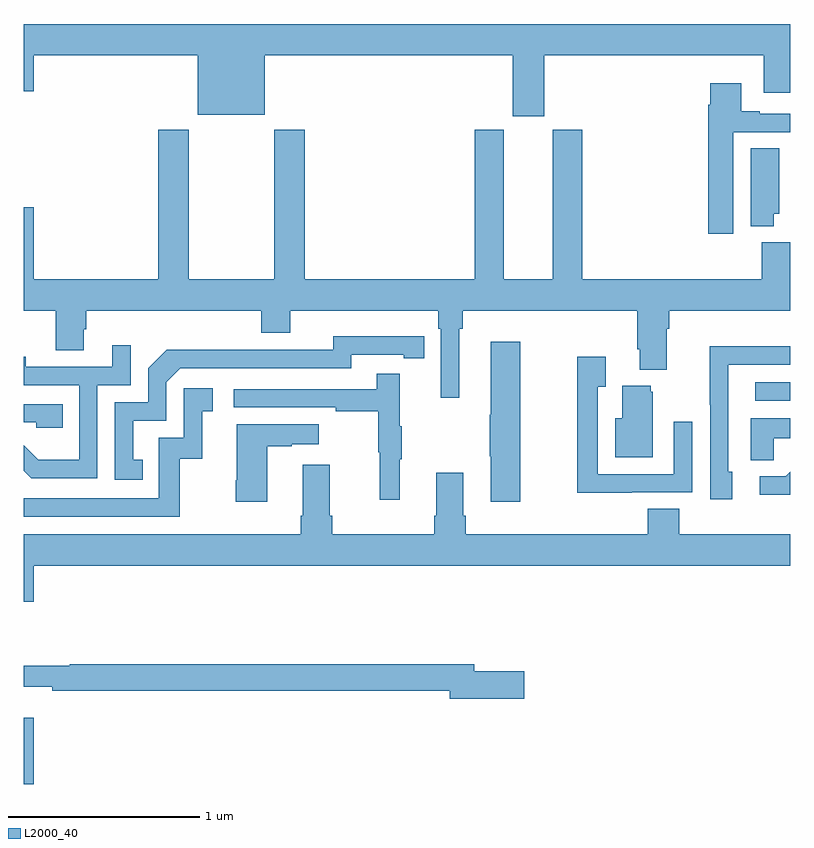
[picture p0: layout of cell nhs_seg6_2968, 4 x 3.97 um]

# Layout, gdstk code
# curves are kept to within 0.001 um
import gdstk
lib = gdstk.Library(unit=1e-6, precision=1e-09)
def R(c, l, rs):  # rectangles x0, y0, x1, y1
    for r in rs: c.add(gdstk.rectangle(r[:2], r[2:], *l))
def P(c, l, *ps):  # polygons
    for p in ps: c.add(gdstk.Polygon(p, *l))
L2000_40 = (2000, 40)

nhs_seg6_2968 = lib.new_cell('nhs_seg6_2968')
R(nhs_seg6_2968, L2000_40, [(285,975.5,285.052,975.847), (288.819,977.502,289,977.598)])
P(nhs_seg6_2968, L2000_40, [(287.716,979.304),(288.863,979.304),(288.863,979.11),(289,979.11),(289,979.468),(285,979.468),(285,979.116),(285.052,979.116),(285.052,979.304),(285.908,979.304),(285.908,978.995),(286.258,978.995),(286.258,979.304),(287.552,979.304),(287.552,978.987),(287.716,978.987)],
  [(288.703,978.903),(289,978.903),(289,978.999),(288.841,978.999),(288.841,979.012),(288.745,979.012),(288.745,979.159),(288.584,979.159),(288.584,979.046),(288.572,979.046),(288.572,978.372),(288.703,978.372)],
  [(287.272,977.876),(287.291,977.876),(287.291,977.972),(288.203,977.972),(288.203,977.77),(288.215,977.77),(288.215,977.663),(288.355,977.663),(288.355,977.876),(288.368,977.876),(288.368,977.972),(289,977.972),(289,978.328),(288.851,978.328),(288.851,978.136),(287.915,978.136),(287.915,978.915),(287.762,978.915),(287.762,978.136),(287.506,978.136),(287.506,978.915),(287.354,978.915),(287.354,978.136),(286.466,978.136),(286.466,978.916),(286.306,978.916),(286.306,978.136),(285.861,978.136),(285.861,978.916),(285.701,978.916),(285.701,978.136),(285.052,978.136),(285.052,978.511),(285,978.511),(285,977.972),(285.166,977.972),(285.166,977.764),(285.313,977.764),(285.313,977.874),(285.326,977.874),(285.326,977.972),(286.238,977.972),(286.238,977.855),(286.39,977.855),(286.39,977.972),(287.162,977.972),(287.162,977.876),(287.175,977.876),(287.175,977.517),(287.272,977.517)],
  [(288.916,978.477),(288.943,978.477),(288.943,978.818),(288.794,978.818),(288.794,978.413),(288.916,978.413)],
  [(285.62,977.193),(285.571,977.193),(285.571,977.397),(285.744,977.397),(285.744,977.598),(285.816,977.67),(286.71,977.67),(286.71,977.742),(286.982,977.742),(286.982,977.722),(287.09,977.722),(287.09,977.838),(286.614,977.839),(286.614,977.766),(286.154,977.766),(286.154,977.768),(285.746,977.768),(285.648,977.67),(285.648,977.493),(285.474,977.493),(285.474,977.088),(285.62,977.088)],
  [(287.592,977.809),(287.438,977.809),(287.438,977.429),(287.431,977.429),(287.431,977.212),(287.438,977.212),(287.438,976.974),(287.592,976.974)],
  [(285.384,977.583),(285.558,977.583),(285.558,977.791),(285.461,977.791),(285.461,977.679),(285.01,977.679),(285.01,977.731),(285,977.731),(285,977.583),(285.288,977.583),(285.288,977.194),(285.074,977.194),(285,977.268),(285,977.135),(285.038,977.097),(285.384,977.097)],
  [(288.697,977.13),(288.678,977.13),(288.678,977.688),(289,977.688),(289,977.786),(288.58,977.786),(288.58,977.479),(288.582,977.479),(288.582,976.986),(288.697,976.986)],
  [(288.173,977.022),(288.489,977.022),(288.489,977.392),(288.393,977.392),(288.393,977.118),(287.997,977.118),(287.997,977.575),(288.037,977.575),(288.037,977.731),(287.889,977.731),(287.889,977.021),(288.173,977.021)],
  [(286.961,977.195),(286.972,977.195),(286.972,977.369),(286.961,977.369),(286.961,977.641),(286.843,977.641),(286.843,977.562),(286.095,977.562),(286.095,977.466),(286.627,977.466),(286.627,977.446),(286.851,977.446),(286.851,977.232),(286.858,977.232),(286.858,976.983),(286.961,976.983)],
  [(288.283,977.547),(288.272,977.547),(288.272,977.578),(288.125,977.578),(288.125,977.41),(288.086,977.41),(288.086,977.207),(288.283,977.207)],
  [(285.814,977.199),(285.932,977.199),(285.932,977.445),(285.985,977.445),(285.985,977.566),(285.834,977.566),(285.834,977.307),(285.705,977.307),(285.705,976.992),(285,976.992),(285,976.896),(285.814,976.896)],
  [(285.203,977.484),(285,977.484),(285,977.388),(285.063,977.388),(285.063,977.361),(285.203,977.361)],
  [(288.915,977.306),(289,977.306),(289,977.41),(288.794,977.41),(288.794,977.191),(288.915,977.191)],
  [(286.27,977.263),(286.397,977.263),(286.397,977.273),(286.54,977.273),(286.54,977.377),(286.112,977.377),(286.112,977.086),(286.105,977.086),(286.105,976.974),(286.27,976.974)],
  [(285.052,976.64),(289,976.64),(289,976.804),(288.422,976.804),(288.422,976.937),(288.257,976.937),(288.257,976.804),(287.306,976.804),(287.306,976.9),(287.293,976.9),(287.293,977.125),(287.153,977.125),(287.153,976.9),(287.141,976.9),(287.141,976.804),(286.61,976.804),(286.61,976.9),(286.597,976.9),(286.597,977.167),(286.457,977.167),(286.457,976.9),(286.445,976.9),(286.445,976.804),(285,976.804),(285,976.452),(285.052,976.452)],
  [(289,977.129),(288.977,977.106),(288.843,977.106),(288.843,977.009),(289,977.009)],
  [(287.611,976.088),(287.35,976.088),(287.35,976.124),(285.239,976.124),(285.239,976.117),(285,976.117),(285,976.007),(285.148,976.007),(285.148,975.988),(287.222,975.988),(287.222,975.946),(287.611,975.946)])

lib.write_gds('nhs_seg6_2968.gds')
